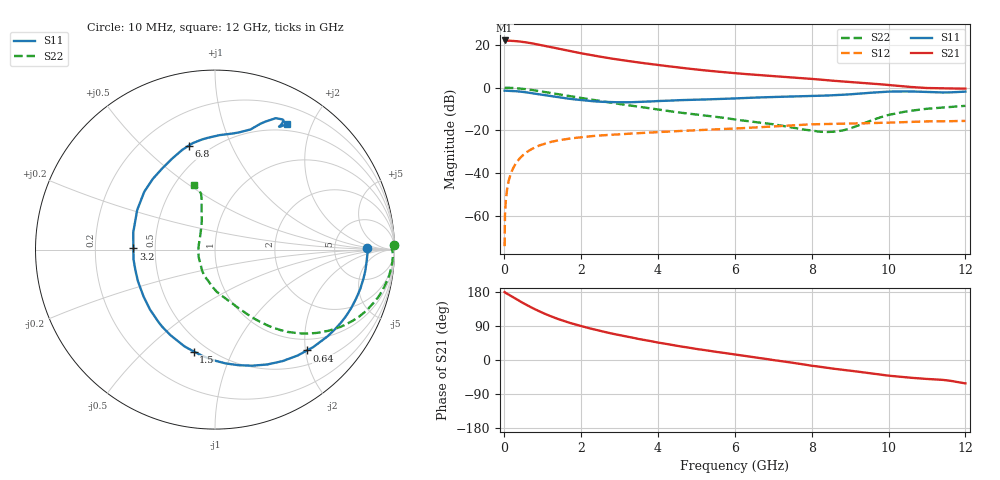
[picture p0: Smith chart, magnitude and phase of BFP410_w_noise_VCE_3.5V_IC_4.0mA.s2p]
! Infineon Technologies  Discrete & RF Semiconductors
! BFP410
! VCE =  3.5 V,  IC =  4.0 mA
! Common Emitter S-Parameters:  Nov 2015
# GHz  S  MA  R  50
!  f  S11  S21  S12  S22
! GHz  MAG  ANG  MAG  ANG  MAG  ANG  MAG  ANG
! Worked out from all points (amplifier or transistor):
!   243 points, 10 MHz to 12 GHz, reference 50 ohm
!   highest |S21| = 22.0 dB at 10 MHz (marker M1)
!   |S21| within 3 dB of that: start of sweep to 1.188 GHz
!   unconditionally stable (mu >= 1): start of sweep to 11.91 MHz; 3.341 GHz to end of sweep
!   at 240 MHz: K = 0.09, MSG = 29.6 dB, |S12| = -37.3 dB
!   at 1.84 GHz: K = 0.55, MSG = 20.0 dB, |S12| = -23.4 dB
!   at 12 GHz: K = 1.08, MAG = 5.8 dB, |S12| = -15.5 dB
!   lowest NFmin = 0.94 dB at 900 MHz
!   S11 on the Smith chart (normalised r, x): 10 MHz: 12, +1; 640 MHz: 0.76, -2.03; 1.5 GHz: 0.42, -0.72; 3.2 GHz: 0.37, +0.01; 6.8 GHz: 0.39, +0.70; 12 GHz: 0.41, +1.65
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0.01  0.8483 0.7  12.61 179.2  0.0002 -2.6  0.9953 1.5
0.015  0.8494 -0.1  12.57 178.9  0.0006 59.8  0.9903 0.8
0.025  0.8502 -1.3  12.51 178.1  0.0014 73.2  0.9864 -0.1
0.12  0.8444 -9.1  12.45 172.4  0.0069 82.3  0.9897 -4.4
0.3  0.8265 -22.8  12.18 161.5  0.0169 77.7  0.9711 -11.1
0.42  0.8069 -31.7  11.87 154.4  0.0232 73.6  0.9509 -15.5
0.64  0.7606 -47.6  11.11 142.1  0.0336 66.2  0.9018 -22.9
0.8  0.7264 -58.8  10.48 133.8  0.0404 61.5  0.8611 -27.6
1  0.6794 -72.2  9.678 124.4  0.0476 56.0  0.8057 -33.1
1.22  0.6322 -85.9  8.805 115.1  0.0542 50.8  0.7468 -38.2
1.5  0.5802 -101.8  7.786 104.9  0.0609 45.4  0.678 -43.6
1.74  0.5437 -114.7  7.037 97.0  0.0655 41.5  0.626 -47.4
2.02  0.5101 -128.5  6.286 89.1  0.0702 37.9  0.572 -51.2
2.6  0.4656 -156.4  5.093 74.2  0.0778 31.4  0.4714 -58.2
3.2  0.4548 179.2  4.211 61.8  0.0838 26.8  0.3923 -64.2
4.1  0.4892 150.5  3.295 44.4  0.0927 21.7  0.3003 -74.2
5  0.5247 131.3  2.648 29.2  0.1014 16.8  0.2359 -87.5
6.1  0.5649 113.7  2.139 13.1  0.1121 11.8  0.176 -103.1
6.8  0.5969 104.3  1.913 3.0  0.1215 8.3  0.1469 -116.6
8.2  0.6453 84.4  1.541 -17.7  0.1407 -2.5  0.0938 -167.8
10.2  0.8116 63.9  1.108 -43.2  0.1545 -15.3  0.2513 107.2
12  0.8065 60.1  0.949 -61.7  0.1673 -29.7  0.376 107.8
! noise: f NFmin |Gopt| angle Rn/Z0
0.45  0.98  0.32  5  0.21
0.9  0.94  0.3  19  0.2
1.8  1.11  0.22  51  0.18
2.4  1.13  0.21  57  0.19
5.5  2.09  0.32  -131  0.22
10  3.48  0.67  -53  1.85
